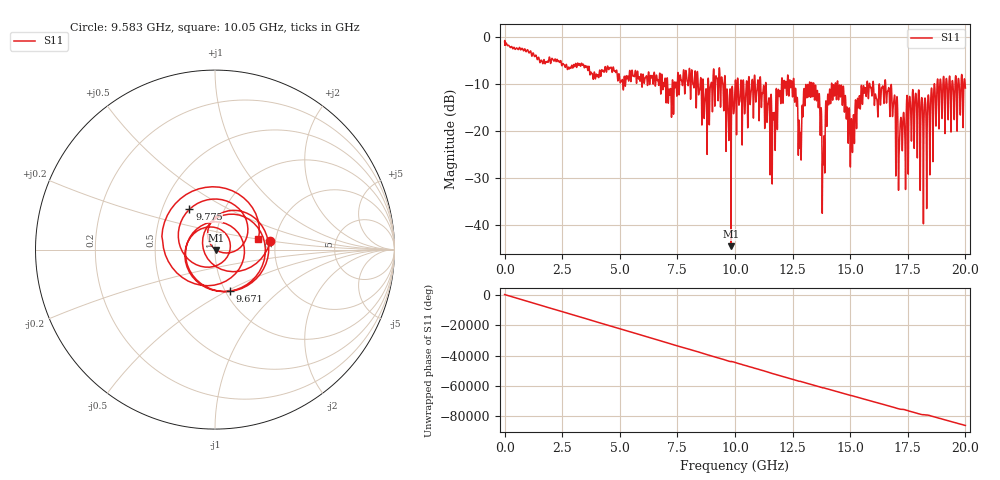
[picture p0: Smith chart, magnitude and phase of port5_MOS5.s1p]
! MS46122B
! 2250307/22442219
! 6/11/2025 1:22:50 PM
! C:\USERS\SPARKY\DOCUMENTS\VNA_DATA\JUNE11_2025\PORT5.S1P
! CHANNEL.1
! TR.MEASUREMENT
! RAW.DATA
# GHZ S RI R 50.0
! FREQ.GHZ  S11RE  S11IM
!; PortSelection: Port_1
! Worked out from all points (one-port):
!   10001 points, 1 MHz to 20 GHz, reference 50 ohm
!   lowest |S11| = -44.5 dB at 9.831 GHz (marker M1), VSWR 1.01, Z = 50.6 - j0.16 ohm
!   |S11| at or under -10 dB: 13.42 GHz to 14.19 GHz (767.8 MHz wide, 5.56 % of centre); 14.46 GHz to 15.72 GHz (1.26 GHz wide, 8.35 % of centre); 16.54 GHz to 18.65 GHz (2.108 GHz wide, 12 % of centre) (the widest 3 of 73)
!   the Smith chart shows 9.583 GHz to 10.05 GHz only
!   S11 on the Smith chart (normalised r, x): 9.583 GHz: 1.88, +0.20; 9.671 GHz: 1.05, -0.52; 9.775 GHz: 0.69, +0.33; 10.05 GHz: 1.62, +0.20
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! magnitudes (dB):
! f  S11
! 1 MHz  -0.9
! 2.501 GHz  -5.9
! 5.001 GHz  -9.3
! 7.501 GHz  -9.3
! 9.583 GHz  -10.1
! 9.671 GHz  -12.2
! 9.775 GHz  -11.5
! 9.831 GHz  -44.5
! 10 GHz  -10.3
! 10.05 GHz  -12.1
! 11.17 GHz  -12.9
! 11.68 GHz  -17.5
! 11.96 GHz  -11.9
! 12.5 GHz  -12.7
! 12.82 GHz  -23.7
! 13.32 GHz  -9.6
! 13.58 GHz  -11.5
! 13.81 GHz  -25.8
! 14.28 GHz  -10.2
! 15 GHz  -25.2
! 15.81 GHz  -11.0
! 16.71 GHz  -14.3
! 17.18 GHz  -18.1
! 17.5 GHz  -17.0
! 17.91 GHz  -25.1
! 18.25 GHz  -13.0
! 18.85 GHz  -19.5
! 20 GHz  -10.8
